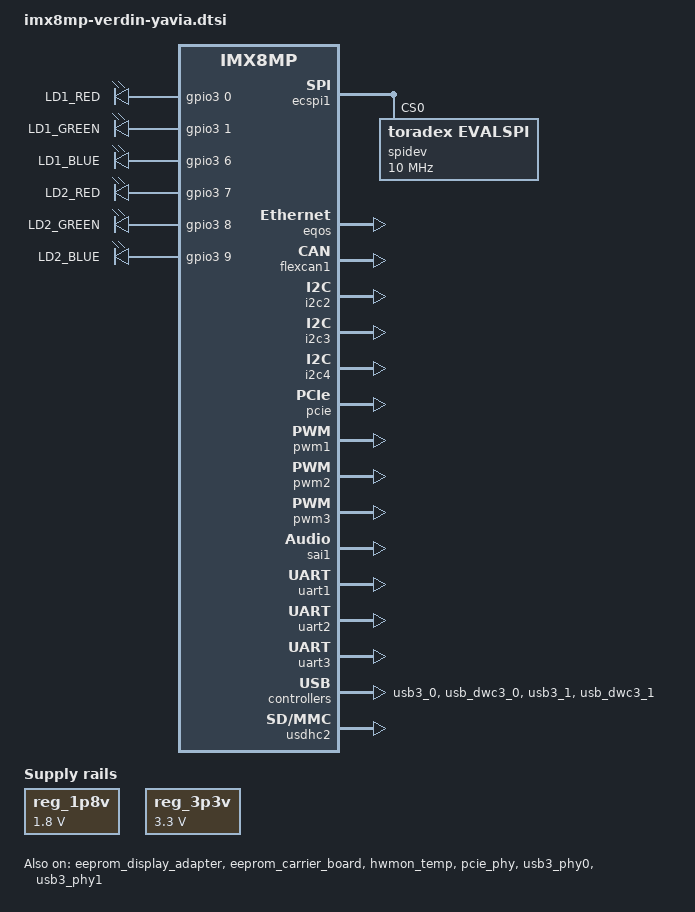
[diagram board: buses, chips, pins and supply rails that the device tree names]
// SPDX-License-Identifier: GPL-2.0+ OR MIT
/*
 * Copyright 2022 Toradex
 */

/ {
	/* Carrier Board Supply +V1.8 */
	reg_1p8v: regulator-1p8v {
		compatible = "regulator-fixed";
		regulator-max-microvolt = <1800000>;
		regulator-min-microvolt = <1800000>;
		regulator-name = "+V1.8_SW";
	};

	/* Carrier Board Supply +V3.3 */
	reg_3p3v: regulator-3p3v {
		compatible = "regulator-fixed";
		regulator-max-microvolt = <3300000>;
		regulator-min-microvolt = <3300000>;
		regulator-name = "+V3.3_SW";
	};

	leds {
		compatible = "gpio-leds";

		pinctrl-names = "default";
		pinctrl-0 = <&pinctrl_leds_yavia>;

		/* SODIMM 52 */
		led1-red {
			label = "LD1_RED";
			gpios = <&gpio3 0 GPIO_ACTIVE_HIGH>;
		};
		/* SODIMM 54 */
		led1-green {
			label = "LD1_GREEN";
			gpios = <&gpio3 1 GPIO_ACTIVE_HIGH>;
		};
		/* SODIMM 56 */
		led1-blue {
			label = "LD1_BLUE";
			gpios = <&gpio3 6 GPIO_ACTIVE_HIGH>;
		};
		/* SODIMM 58 */
		led2-red {
			label = "LD2_RED";
			gpios = <&gpio3 7 GPIO_ACTIVE_HIGH>;
		};
		/* SODIMM 60 */
		led2-green {
			label = "LD2_GREEN";
			gpios = <&gpio3 8 GPIO_ACTIVE_HIGH>;
		};
		/* SODIMM 62 */
		led2-blue {
			label = "LD2_BLUE";
			gpios = <&gpio3 9 GPIO_ACTIVE_HIGH>;
		};
	};

	sound_hdmi: sound-hdmi {
		compatible = "fsl,imx-audio-cdnhdmi";
		model = "audio-hdmi";
		audio-cpu = <&aud2htx>;
		hdmi-out;
		constraint-rate = <44100>,
				<88200>,
				<176400>,
				<32000>,
				<48000>,
				<96000>,
				<192000>;
		status = "disabled";
	};
};

&backlight {
	power-supply = <&reg_3p3v>;
};

/* Verdin SPI_1 */
&ecspi1 {
	status = "okay";

	spidev@0 {
		compatible = "toradex,evalspi";
		reg = <0>;
		spi-max-frequency = <10000000>;
		status = "okay";
	};
};

/* EEPROM on display adapter boards */
&eeprom_display_adapter {
	status = "okay";
};

/* EEPROM on Verdin yavia board */
&eeprom_carrier_board {
	status = "okay";
};

&eqos {
	status = "okay";
};

&flexcan1 {
	status = "okay";
};

&hwmon_temp {
	status = "okay";
};

/* Verdin I2C_2_DSI */
&i2c2 {
	status = "okay";
};

&i2c3 {
	status = "okay";
};

&i2c4 {
	status = "okay";
};

/* Verdin PCIE_1 */
&pcie {
	epdev_on-supply = <&reg_3p3v>;
	status = "okay";
};

&pcie_phy{
	status = "okay";
};

/* Verdin PWM_1 */
&pwm1 {
	status = "okay";
};

/* Verdin PWM_2 */
&pwm2 {
	status = "okay";
};

/* Verdin PWM_3_DSI */
&pwm3 {
	status = "okay";
};

&reg_usdhc2_vmmc {
	vin-supply = <&reg_3p3v>;
};

/* VERDIN I2S_1 */
&sai1 {
	status = "okay";
};

/* Verdin UART_1 */
&uart1 {
	status = "okay";
};

/* Verdin UART_2 */
&uart2 {
	status = "okay";
};

/* Verdin UART_3, used as the Linux Console */
&uart3 {
	status = "okay";
};

/* Verdin USB_1 */
&usb3_phy0 {
	status = "okay";
};

&usb3_0 {
	status = "okay";
};

&usb_dwc3_0 {
	status = "okay";
};

/* Verdin USB_2 */
&usb3_phy1 {
	status = "okay";
};

&usb3_1 {
	status = "okay";
};

&usb_dwc3_1 {
	disable-over-current;
	status = "okay";
};

/* Verdin SD_1 */
&usdhc2 {
	status = "okay";
};

&iomuxc {
	pinctrl_leds_yavia: ledsyaviagrp {
		fsl,pins = <
			MX8MP_IOMUXC_NAND_ALE__GPIO3_IO00	0x106	/* SODIMM 52 */
			MX8MP_IOMUXC_NAND_CE0_B__GPIO3_IO01	0x106	/* SODIMM 54 */
			MX8MP_IOMUXC_NAND_DATA00__GPIO3_IO06	0x106	/* SODIMM 56 */
			MX8MP_IOMUXC_NAND_DATA01__GPIO3_IO07	0x106	/* SODIMM 58 */
			MX8MP_IOMUXC_NAND_DATA02__GPIO3_IO08	0x106	/* SODIMM 60 */
			MX8MP_IOMUXC_NAND_DATA03__GPIO3_IO09	0x106	/* SODIMM 62 */
		>;
	};

	pinctrl_gpios_ext_yavia: gpiosextyaviagrp {
		fsl,pins = <
			MX8MP_IOMUXC_NAND_CE1_B__GPIO3_IO02	0x106	/* SODIMM 64 */
			MX8MP_IOMUXC_NAND_DQS__GPIO3_IO14	0x106	/* SODIMM 66 */
		>;
	};
};
